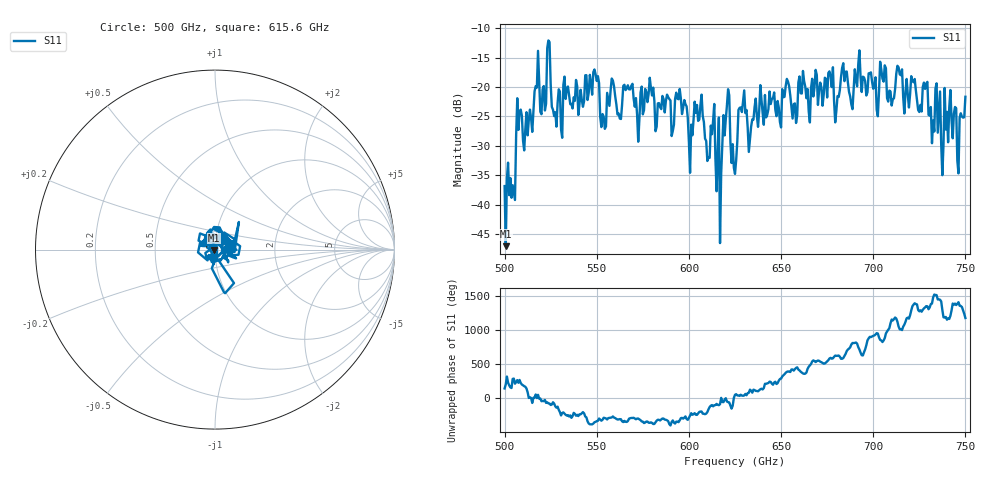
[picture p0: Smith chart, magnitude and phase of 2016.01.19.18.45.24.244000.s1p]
!Created with skrf (http://scikit-rf.org).
# GHz S RI R 50.0
!freq ReS11 ImS11
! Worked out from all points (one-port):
!   401 points, 500 GHz to 750 GHz, reference 50 ohm
!   lowest |S11| = -47.1 dB at 500.6 GHz (marker M1), VSWR 1.01, Z = 49.6 - j0.161 ohm
!   |S11| at or under -10 dB: start of sweep to end of sweep
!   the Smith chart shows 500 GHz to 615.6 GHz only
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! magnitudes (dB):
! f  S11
! 500 GHz  -36.9
! 500.6 GHz  -47.1
! 504.4 GHz  -36.7
! 507.5 GHz  -27.3
! 511.2 GHz  -27.1
! 517.5 GHz  -20.1
! 520.6 GHz  -20.4
! 524.4 GHz  -12.3
! 526.9 GHz  -24.9
! 531.2 GHz  -28.6
! 549.4 GHz  -17.8
! 553.8 GHz  -25.0
! 558.8 GHz  -18.9
! 562.5 GHz  -25.4
! 593.8 GHz  -22.0
! 600.6 GHz  -34.6
! 613.1 GHz  -25.7
! 616.2 GHz  -25.2
! 620.6 GHz  -23.1
! 625 GHz  -34.8
! 628.8 GHz  -24.3
! 633.1 GHz  -28.9
! 656.2 GHz  -25.4
! 687.5 GHz  -21.6
! 718.8 GHz  -21.3
! 728.1 GHz  -20.3
! 738.1 GHz  -29.8
! 750 GHz  -21.7
